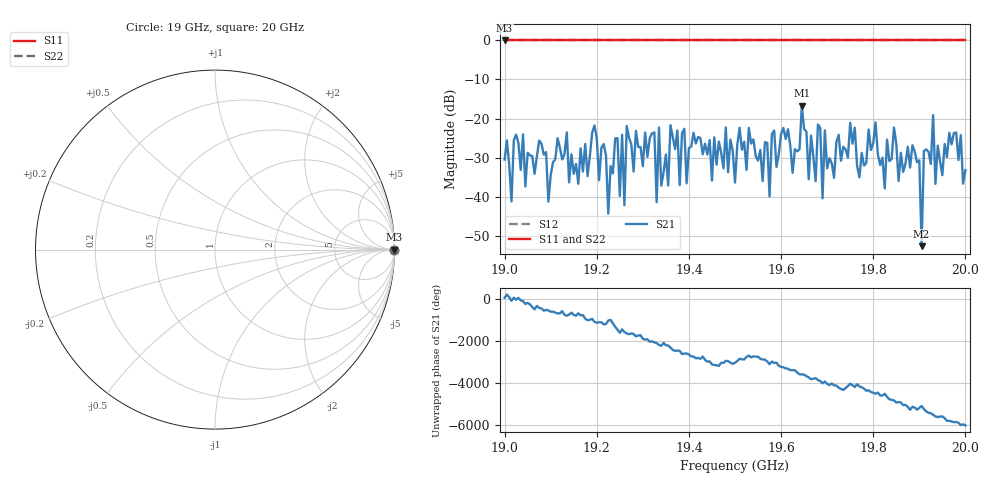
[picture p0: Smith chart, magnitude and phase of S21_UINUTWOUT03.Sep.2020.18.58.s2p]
!Agilent N9918A: A.07.57
!Date: Thursday, 03 September 2020 18:58:36
!Timezone: (GMT-08:00) Pacific Time (US & Canada)
!Model: N9918A
!Serial: MY53103598
!GPS Latitude:
!GPS Longitude:
!GPS TimeStamp: 0001-01-01 00:00:00Z
!GPS Seconds Since Last Read: 0
!CHECKSUM:0505457364
!Correction: S11()S21(Rdy)S12()S22()
!S2P File: Measurements:S11,S21,S12,S22:
# Hz S DB R 50
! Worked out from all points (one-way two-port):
!   201 points, 19 GHz to 20 GHz, reference 50 ohm
!   highest |S21| = -16.74 dB at 19.645 GHz (marker M1); lowest = -52.7 dB at 19.905 GHz (marker M2)
!   lowest |S11| = 0.0 dB at 19 GHz (marker M3)
!   |S11| at or under -10 dB: nowhere
!   |S22| runs from 0.0 to 0.0 dB; largest |S21 - S12| = 1.1
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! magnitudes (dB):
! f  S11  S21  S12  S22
! 19 GHz  0.0  -30.5  0.0  0.0
! 19.17 GHz  0.0  -33.6  0.0  0.0
! 19.225 GHz  0.0  -44.4  0.0  0.0
! 19.255 GHz  0.0  -24.2  0.0  0.0
! 19.26 GHz  0.0  -42.2  0.0  0.0
! 19.265 GHz  0.0  -21.9  0.0  0.0
! 19.325 GHz  0.0  -23.6  0.0  0.0
! 19.33 GHz  0.0  -41.4  0.0  0.0
! 19.335 GHz  0.0  -22.3  0.0  0.0
! 19.34 GHz  0.0  -37.2  0.0  0.0
! 19.36 GHz  0.0  -21.7  0.0  0.0
! 19.5 GHz  0.0  -36.4  0.0  0.0
! 19.625 GHz  0.0  -33.9  0.0  0.0
! 19.645 GHz  0.0  -16.7  0.0  0.0
! 19.67 GHz  0.0  -29.8  0.0  0.0
! 19.835 GHz  0.0  -30.9  0.0  0.0
! 19.9 GHz  0.0  -30.7  0.0  0.0
! 19.905 GHz  0.0  -52.7  0.0  0.0
! 19.91 GHz  0.0  -28.4  0.0  0.0
! 19.93 GHz  0.0  -19.1  0.0  0.0
! 19.935 GHz  0.0  -36.8  0.0  0.0
! 20 GHz  0.0  -33.3  0.0  0.0
